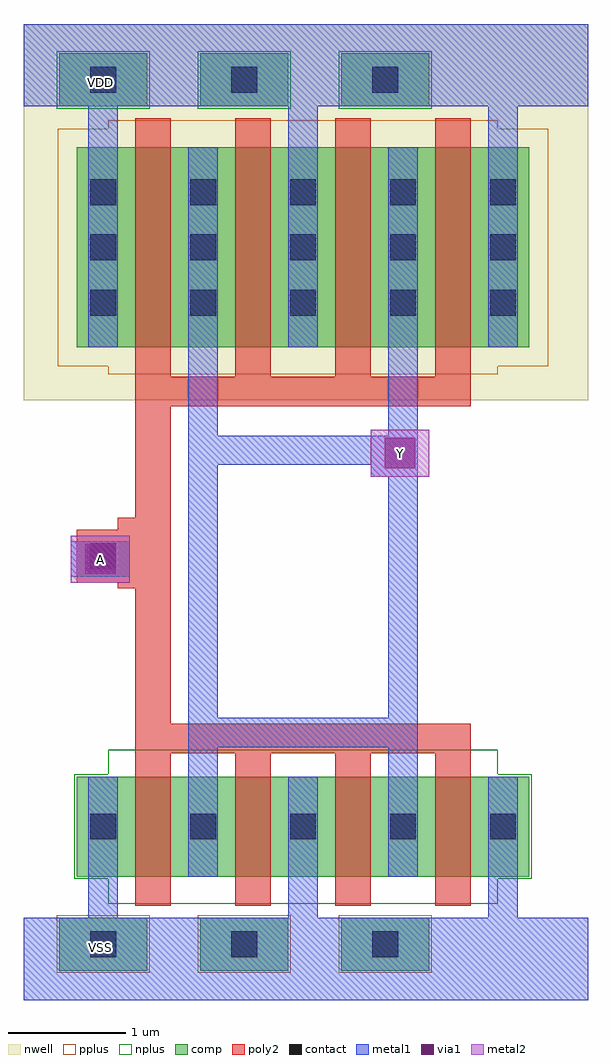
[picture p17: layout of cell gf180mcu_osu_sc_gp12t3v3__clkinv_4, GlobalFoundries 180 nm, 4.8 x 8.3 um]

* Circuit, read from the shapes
.subckt gf180mcu_osu_sc_gp12t3v3__clkinv_4 A VDD VSS Y
XM1 Y A VSS VSS nfet_03v3 w=0.85u l=0.3u m=4
XM2 Y A VDD VDD pfet_03v3 w=1.7u l=0.3u m=4
.ends

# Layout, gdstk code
import gdstk
lib = gdstk.Library(unit=1e-6, precision=1e-09)
def R(c, l, rs):  # rectangles x0, y0, x1, y1
    for r in rs: c.add(gdstk.rectangle(r[:2], r[2:], *l))
def A(c, l, x, y, w, h, nx, ny, dx, dy):  # array of equal rectangles
    R(c, l, [(x+i*dx, y+j*dy, x+i*dx+w, y+j*dy+h) for i in range(nx) for j in range(ny)])
nwell = (21, 0)
comp = (22, 0)
poly2 = (30, 0)
pplus = (31, 0)
nplus = (32, 0)
contact = (33, 0)
metal1 = (34, 0)
via1 = (35, 0)
metal2 = (36, 0)

gf180mcu_osu_sc_gp12t3v3 = lib.new_cell('gf180mcu_osu_sc_gp12t3v3__clkinv_4')
R(gf180mcu_osu_sc_gp12t3v3, nwell, [(0,5.1,4.8,8.3)])
A(gf180mcu_osu_sc_gp12t3v3, comp, 0.3, 0.25, 0.75, 0.45, 3, 2, 1.2, 7.35)
R(gf180mcu_osu_sc_gp12t3v3, comp, [(0.45,1.05,4.3,1.9), (0.45,5.55,4.3,7.25)])
A(gf180mcu_osu_sc_gp12t3v3, poly2, 0.95, 0.8, 0.3, 1.3, 4, 1, 0.85, 0)
A(gf180mcu_osu_sc_gp12t3v3, poly2, 0.95, 5.3, 0.3, 2.2, 4, 1, 0.85, 0)
R(gf180mcu_osu_sc_gp12t3v3, poly2, [(0.95,2.1,3.8,2.35), (0.95,2.35,1.25,3.5), (0.8,3.5,1.25,3.55), (0.45,3.55,1.25,4), (0.8,4,1.25,4.1), (0.95,4.1,1.25,5.05), (0.95,5.05,3.8,5.3)])
A(gf180mcu_osu_sc_gp12t3v3, pplus, 0.28, 0.23, 0.79, 0.49, 3, 1, 1.2, 0)
R(gf180mcu_osu_sc_gp12t3v3, pplus, [(0.72,5.32,4.03,5.39), (0.29,5.39,4.46,7.41), (0.72,7.41,4.03,7.48)])
A(gf180mcu_osu_sc_gp12t3v3, nplus, 0.28, 7.58, 0.79, 0.49, 3, 1, 1.2, 0)
R(gf180mcu_osu_sc_gp12t3v3, nplus, [(0.72,0.82,4.03,1.03), (0.43,1.03,4.32,1.92), (0.72,1.92,4.03,2.13)])
A(gf180mcu_osu_sc_gp12t3v3, contact, 0.565, 0.365, 0.22, 0.22, 3, 2, 1.2, 7.35)
A(gf180mcu_osu_sc_gp12t3v3, contact, 0.565, 1.365, 0.22, 0.22, 5, 2, 0.85, 4.455)
A(gf180mcu_osu_sc_gp12t3v3, contact, 0.565, 6.29, 0.22, 0.22, 5, 2, 0.85, 0.47)
R(gf180mcu_osu_sc_gp12t3v3, contact, [(0.565,3.665,0.785,3.885)])
A(gf180mcu_osu_sc_gp12t3v3, metal1, 0.55, 0.7, 0.25, 1.2, 3, 1, 1.7, 0)
A(gf180mcu_osu_sc_gp12t3v3, metal1, 0.55, 5.55, 0.25, 2.05, 3, 1, 1.7, 0)
R(gf180mcu_osu_sc_gp12t3v3, metal1, [(0,0,4.8,0.7), (1.4,1.05,1.65,2.15), (3.1,1.05,3.35,2.15), (1.4,2.15,3.35,2.4), (1.4,2.4,1.65,4.55), (3.1,2.4,3.35,4.45), (0.4,3.6,0.9,3.9), (2.95,4.45,3.35,4.55), (1.4,4.55,3.35,4.8), (1.4,4.8,1.65,7.25), (3.1,4.8,3.35,7.25), (0,7.6,4.8,8.3)])
R(gf180mcu_osu_sc_gp12t3v3, via1, [(0.52,3.62,0.78,3.88), (3.07,4.52,3.33,4.78)])
R(gf180mcu_osu_sc_gp12t3v3, metal2, [(0.4,3.55,0.9,3.95), (2.95,4.45,3.45,4.85)])
gf180mcu_osu_sc_gp12t3v3.add(gdstk.Label('A', (0.65,3.75), layer=36, texttype=10))
gf180mcu_osu_sc_gp12t3v3.add(gdstk.Label('Y', (3.2,4.65), layer=36, texttype=10))
gf180mcu_osu_sc_gp12t3v3.add(gdstk.Label('VDD', (0.65,7.8), layer=34, texttype=10))
gf180mcu_osu_sc_gp12t3v3.add(gdstk.Label('VSS', (0.65,0.45), layer=34, texttype=10))

lib.write_gds('gf180mcu_osu_sc_gp12t3v3__clkinv_4.gds')
